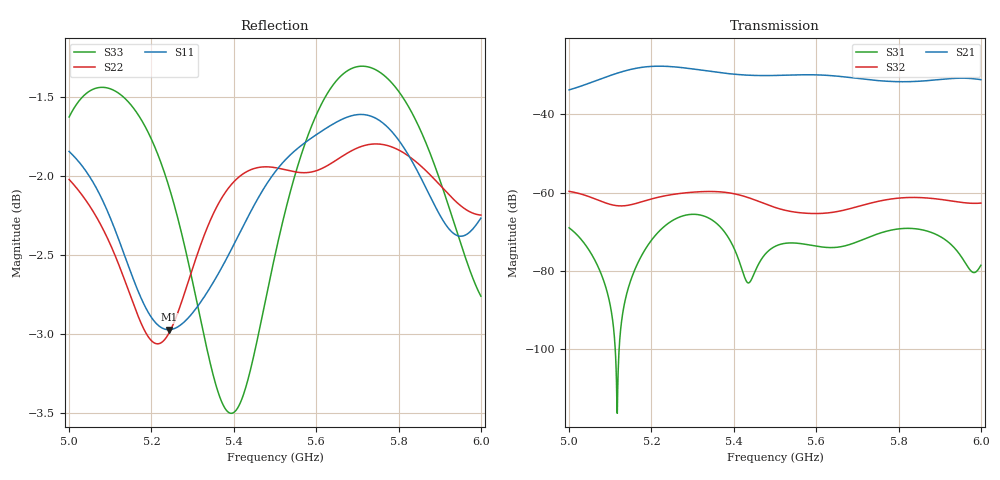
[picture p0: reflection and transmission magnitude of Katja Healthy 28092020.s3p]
! TOUCHSTONE file generated by CST MICROWAVE STUDIO
! Date and time: Tue Sep 29 10:20:05 2020
! Project name: Katja Lung Lower Right.cst
! Header version: 2018
! Port assignment regex: !\s*Touchstone port\s*([0-9]+)\s*=\s*(CST MWS port|CST DS port)\s*([0-9]+|Zmin|Zmax)\s*\(\"(.*)\"\)(\s*mode\s*([0-9]+))?.*
! Touchstone port assignment:
! Touchstone port 1 = CST MWS port 1 ("")
! Touchstone port 2 = CST MWS port 2 ("")
! Touchstone port 3 = CST MWS port 3 ("")
# GHz S RI R 50
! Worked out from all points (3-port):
!   1001 points, 5 GHz to 6 GHz, reference 50 ohm
!   strongest paths, dB at 5 GHz, 5.25 GHz, 5.5 GHz, 5.75 GHz, 6 GHz:
!     S21: -33.7, -27.8, -30.1, -31.4, -31.1
!     S32: -59.7, -60.5, -63.8, -62.2, -62.7
!     S31: -69.0, -67.2, -73.8, -70.5, -78.6
!   lowest |S11| = -3.0 dB at 5.242 GHz (marker M1), VSWR 5.90, Z = 295 - j4.72 ohm
!   |S11| at or under -10 dB: nowhere
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5  0.8064 -0.0581  0.0173 -0.0111  0.000246 -0.000257
   0.0173 -0.0111  0.7899 -0.0599  0.00102 -1.08e-05
   0.000245 -0.000256  0.00104 -5.06e-06  0.8281 0.0396
5.077  0.7793 -0.0686  0.0111 -0.0261  -6.87e-05 -6.28e-05
       0.0111 -0.0261  0.7639 -0.0613  0.00031 -0.00072
       -6.88e-05 -6.33e-05  0.000303 -0.000716  0.8471 -0.00492
5.153  0.7362 -0.0575  -0.016 -0.0343  7.81e-05 -3.17e-05
       -0.016 -0.0344  0.7239 -0.0447  -0.000251 -0.000654
       7.85e-05 -3.19e-05  -0.000251 -0.000659  0.8342 -0.0464
5.242  0.71 -0.00397  -0.0409 -0.000899  -0.000281 -0.000298
       -0.0409 -0.000896  0.7076 0.0263  -0.000932 4.21e-05
       -0.00028 -0.000298  -0.000928 4.11e-05  0.7843 -0.0799
5.346  0.7318 0.049  -0.0157 0.0316  0.000168 0.000418
       -0.0157 0.0316  0.768 0.0624  0.00022 0.00101
       0.000168 0.000418  0.000223 0.00101  0.6886 -0.0456
5.426  0.7641 0.0684  0.0083 0.0308  8.2e-05 -1.45e-05
       0.0083 0.0308  0.7945 0.0474  0.000893 -4.71e-05
       8.22e-05 -1.44e-05  0.000893 -4.48e-05  0.6766 0.0548
5.5  0.7937 0.0662  0.0248 0.0193  0.000203 -3.22e-05
     0.0248 0.0193  0.7983 0.0337  0.000276 -0.000583
     0.000203 -3.2e-05  0.000275 -0.000585  0.7415 0.1099
5.84  0.7995 -0.0127  -0.0208 -0.0162  0.00026 0.000228
      -0.0207 -0.0162  0.8029 0.0064  0.000728 0.000475
      0.00026 0.000228  0.000728 0.000471  0.8275 -0.0292
5.976  0.7623 0.0336  -0.0213 0.0193  -9.65e-05 2.09e-05
       -0.0213 0.0193  0.7732 0.0191  2.33e-05 -0.000728
       -9.73e-05 2.14e-05  8.32e-06 -0.00073  0.7396 -0.0173
6  0.7689 0.0435  -0.0144 0.0237  2.27e-05 0.000114
   -0.0145 0.0237  0.7714 0.0265  -0.000225 -0.000715
   2.33e-05 0.000115  -0.000231 -0.000697  0.7276 4.92e-05
